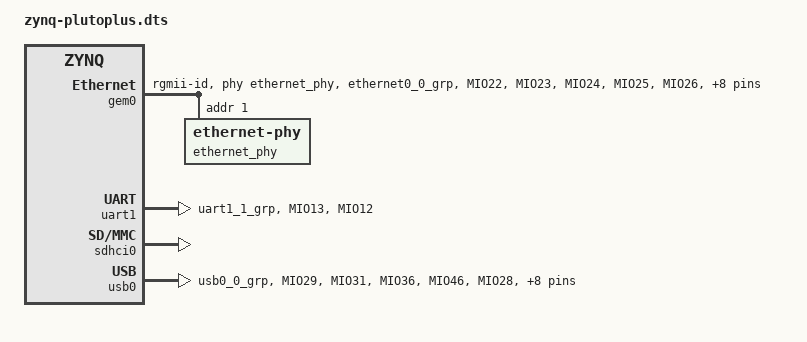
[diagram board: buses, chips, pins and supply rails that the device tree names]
/*
 * ZYNQ Pluto+ (Z7010/AD9363) - Maia SDR
 *
 * Copyright (C) 2021 Howard Su
 * Copyright (C) 2023 Daniel Estevez <daniel@destevez.net>
 *
 * Licensed under the GPL-2.
*/
/dts-v1/;
#include "zynq-pluto-sdr-revc.dts"
#include "zynq-plutoplus.dtsi"

&amba {
        /* Delete PL AXI Quad SPI, which only appears in the Rev. C Device Tree (the AXI
        SPI isn't present in the Maia SDR FPGA design). */
        /delete-node/ spi@7C430000;

        /* Delete axi_tdd, which only appears in the Rev. C Device Tree and the
        IP core isn't present in the Maia SDR FPGA design. */
        /delete-node/ axi-tdd-0@7C440000;
        /delete-node/ iio_axi_tdd_0@0;
};

/* The differences between the ADALM Pluto and the Pluto+ device tree can be
found in https://github.com/plutoplus/plutoplus/blob/master/patches/linux.diff
*/

// Delete gpio-hog's for gpio0
&gpio0 {
        /delete-node/ clock_extern_en;
        /delete-node/ clock_internal_en;
};

/ {
        aliases {
                ethernet0 = &gem0;
                mmc0 = &sdhci0;
        };
};

&gem0 {
        status = "okay";
        pinctrl-names = "default";
        pinctrl-0 = <&pinctrl_gem0_default>;
        phy-mode = "rgmii-id";
        phy-handle = <&ethernet_phy>;
        ethernet_phy: ethernet-phy@1 {
                reg = <1>;
                device_type = "ethernet_phy";
        };
};

&uart1 {
        u-boot,dm-pre-reloc;
        status = "okay";
        pinctrl-names = "default";
        pinctrl-0 = <&pinctrl_uart1_default>;
};

&sdhci0 {
        status = "okay";
        disable-wp;
};

&usb0 {
        xlnx,phy-reset-gpio = <&gpio0 46 0>;
        pinctrl-names = "default";
        pinctrl-0 = <&pinctrl_usb0_default>;
};

/* TODO: perhaps the pinctrl is not needed if the FSBL sets up the MIOs as
 required. */

&pinctrl0 {
        pinctrl_gem0_default: gem0-default {
                mux {
                        function = "ethernet0";
                        groups = "ethernet0_0_grp";
                };

                conf {
                        groups = "ethernet0_0_grp";
                        slew-rate = <0>;
                        io-standard = <1>;
                };

                conf-rx {
                        pins = "MIO22", "MIO23", "MIO24", "MIO25", "MIO26", "MIO27";
                        bias-high-impedance;
                        low-power-disable;
                };

                conf-tx {
                        pins = "MIO16", "MIO17", "MIO18", "MIO19", "MIO20", "MIO21";
                        low-power-enable;
                        bias-disable;
                };

                mux-mdio {
                        function = "mdio0";
                        groups = "mdio0_0_grp";
                };

                conf-mdio {
                        groups = "mdio0_0_grp";
                        slew-rate = <0>;
                        io-standard = <1>;
                        bias-disable;
                };
        };

        pinctrl_usb0_default: usb0-default {
                mux {
                        groups = "usb0_0_grp";
                        function = "usb0";
                };

                conf {
                        groups = "usb0_0_grp";
                        slew-rate = <0>;
                        io-standard = <1>;
                };

                conf-rx {
                        pins = "MIO29", "MIO31", "MIO36";
                        bias-high-impedance;
                };

                conf-pull-up {
                        pins = "MIO46";
                        bias-pull-up;
                };

                conf-tx {
                        pins = "MIO28", "MIO30", "MIO32", "MIO33", "MIO34",
                        "MIO35", "MIO37", "MIO38", "MIO39";
                        bias-disable;
                };
        };

        pinctrl_gpio0_default: gpio0-default {
                mux {
                        function = "gpio0";
                        groups = "gpio0_7_grp", "gpio0_11_grp", "gpio0_14_grp", "gpio0_46_grp";
                };

                conf {
                        groups = "gpio0_7_grp", "gpio0_11_grp", "gpio0_14_grp", "gpio0_46_grp";
                        slew-rate = <0>;
                        io-standard = <1>;
                };

                conf-pull-up {
                        pins = "MIO14";
                        bias-pull-up;
                };

                conf-pull-none {
                        pins = "MIO7", "MIO11";
                        bias-disable;
                };
        };

        pinctrl_sdhci0_default: sdhci0-default {
                mux {
                        groups = "sdio0_2_grp";
                        function = "sdio0";
                };

                conf {
                        groups = "sdio0_2_grp";
                        slew-rate = <0>;
                        io-standard = <1>;
                        bias-disable;
                };

                mux-cd {
                        groups = "gpio0_47_grp";
                        function = "sdio0_cd";
                };

                conf-cd {
                        groups = "gpio0_47_grp";
                        bias-high-impedance;
                        bias-pull-up;
                        slew-rate = <0>;
                        io-standard = <1>;
                };
        };

        pinctrl_uart1_default: uart1-default {
                mux {
                        groups = "uart1_1_grp";
                        function = "uart1";
                };

                conf {
                        groups = "uart1_1_grp";
                        slew-rate = <0>;
                        io-standard = <1>;
                };

                conf-rx {
                        pins = "MIO13";
                        bias-high-impedance;
                };

                conf-tx {
                        pins = "MIO12";
                        bias-disable;
                };
        };
};
